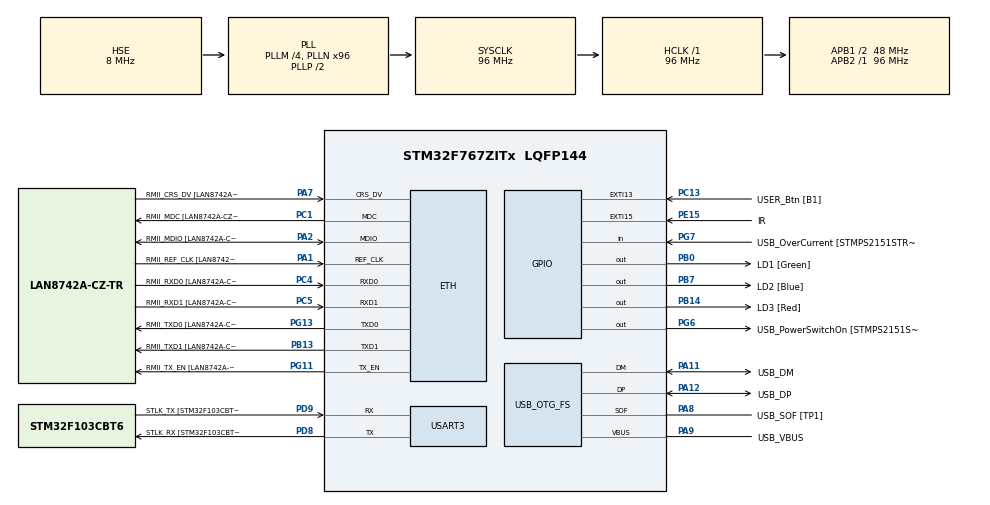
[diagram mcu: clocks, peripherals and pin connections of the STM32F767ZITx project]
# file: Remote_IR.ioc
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ETH.MediaInterface=HAL_ETH_RMII_MODE
ETH.PHY_Name=LAN8742A_PHY_ADDRESS
ETH.PHY_Value=0
ETH.PhyAddress=0
Mcu.Family=STM32F7
Mcu.Name=STM32F767ZITx
Mcu.Package=LQFP144
NVIC.EXTI15_10_IRQn=true\:0\:0\:false\:false\:true\:true\:true\:true
NVIC.PriorityGroup=NVIC_PRIORITYGROUP_4
PA1.GPIO_Label=RMII_REF_CLK [LAN8742A-CZ-TR_REFCLK0]
PA1.Mode=RMII
PA1.Signal=ETH_REF_CLK
PA10.GPIO_Label=USB_ID
PA10.Signal=USB_OTG_FS_ID
PA11.GPIO_Label=USB_DM
PA11.Mode=Device_Only
PA11.Signal=USB_OTG_FS_DM
PA12.GPIO_Label=USB_DP
PA12.Mode=Device_Only
PA12.Signal=USB_OTG_FS_DP
PA13.GPIO_Label=TMS
PA13.Mode=Serial_Wire
PA13.Signal=SYS_JTMS-SWDIO
PA14.GPIO_Label=TCK
PA14.Mode=Serial_Wire
PA14.Signal=SYS_JTCK-SWCLK
PA2.GPIO_Label=RMII_MDIO [LAN8742A-CZ-TR_MDIO]
PA2.Mode=RMII
PA2.Signal=ETH_MDIO
PA7.GPIO_Label=RMII_CRS_DV [LAN8742A-CZ-TR_CRS_DV]
PA7.Mode=RMII
PA7.Signal=ETH_CRS_DV
PA8.GPIO_Label=USB_SOF [TP1]
PA8.Mode=Activate_SOF_FS
PA8.Signal=USB_OTG_FS_SOF
PA9.GPIO_Label=USB_VBUS
PA9.Mode=Activate_VBUS
PA9.Signal=USB_OTG_FS_VBUS
PB0.GPIO_Label=LD1 [Green]
PB0.Signal=GPIO_Output
PB13.GPIO_Label=RMII_TXD1 [LAN8742A-CZ-TR_TXD1]
PB13.Mode=RMII
PB13.Signal=ETH_TXD1
PB14.GPIO_Label=LD3 [Red]
PB14.Signal=GPIO_Output
PB3.GPIO_Label=SWO
PB3.Signal=SYS_JTDO-SWO
PB7.GPIO_Label=LD2 [Blue]
PB7.Signal=GPIO_Output
PC1.GPIO_Label=RMII_MDC [LAN8742A-CZ-TR_MDC]
PC1.Mode=RMII
PC1.Signal=ETH_MDC
PC13.GPIO_Label=USER_Btn [B1]
PC13.Signal=GPXTI13
PC14/OSC32_IN.Mode=LSE-External-Oscillator
PC14/OSC32_IN.Signal=RCC_OSC32_IN
PC15/OSC32_OUT.Mode=LSE-External-Oscillator
PC15/OSC32_OUT.Signal=RCC_OSC32_OUT
PC4.GPIO_Label=RMII_RXD0 [LAN8742A-CZ-TR_RXD0]
PC4.Mode=RMII
PC4.Signal=ETH_RXD0
PC5.GPIO_Label=RMII_RXD1 [LAN8742A-CZ-TR_RXD1]
PC5.Mode=RMII
PC5.Signal=ETH_RXD1
PD8.GPIO_Label=STLK_RX [STM32F103CBT6_PA3]
PD8.Mode=Asynchronous
PD8.Signal=USART3_TX
PD9.GPIO_Label=STLK_TX [STM32F103CBT6_PA2]
PD9.Mode=Asynchronous
PD9.Signal=USART3_RX
PE15.GPIO_Label=IR
PE15.GPIO_ModeDefaultEXTI=GPIO_MODE_IT_RISING_FALLING
PE15.Signal=GPXTI15
PG11.GPIO_Label=RMII_TX_EN [LAN8742A-CZ-TR_TXEN]
PG11.Mode=RMII
PG11.Signal=ETH_TX_EN
PG13.GPIO_Label=RMII_TXD0 [LAN8742A-CZ-TR_TXD0]
PG13.Mode=RMII
PG13.Signal=ETH_TXD0
PG6.GPIO_Label=USB_PowerSwitchOn [STMPS2151STR_EN]
PG6.Signal=GPIO_Output
PG7.GPIO_Label=USB_OverCurrent [STMPS2151STR_FAULT]
PG7.Signal=GPIO_Input
PH0/OSC_IN.GPIO_Label=MCO [STM32F103CBT6_PA8]
PH0/OSC_IN.Mode=HSE-External-Clock-Source
PH0/OSC_IN.Signal=RCC_OSC_IN
PH1/OSC_OUT.Mode=HSE-External-Clock-Source
PH1/OSC_OUT.Signal=RCC_OSC_OUT
ProjectManager.HeapSize=0x200
ProjectManager.StackSize=0x400
ProjectManager.TargetToolchain=MDK-ARM V5.32
RCC.48MHZClocksFreq_Value=24000000
RCC.AHBFreq_Value=96000000
RCC.APB1CLKDivider=RCC_HCLK_DIV2
RCC.APB1Freq_Value=48000000
RCC.APB1TimFreq_Value=96000000
RCC.APB2Freq_Value=96000000
RCC.APB2TimFreq_Value=96000000
RCC.CortexFreq_Value=96000000
RCC.HCLKFreq_Value=96000000
RCC.HSE_VALUE=8000000
RCC.HSI_VALUE=16000000
RCC.PLLM=4
RCC.PLLMUL=RCC_PLL_MUL9
RCC.PLLN=96
RCC.PLLQ=4
RCC.PRESCALERUSB=RCC_USBCLKSOURCE_PLL_DIV1_5
RCC.SYSCLKFreq_VALUE=96000000
RCC.SYSCLKSource=RCC_SYSCLKSOURCE_PLLCLK
RCC.SYSCLKSourceVirtual=RCC_SYSCLKSOURCE_PLLCLK
RCC.USBFreq_Value=48000000
RCC.VCOOutputFreq_Value=192000000
USART3.VirtualMode-Asynchronous=VM_ASYNC
USB_OTG_FS.VirtualMode=Device_Only
board=NUCLEO-F767ZI

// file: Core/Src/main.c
/* USER CODE BEGIN Header */
/**
  ******************************************************************************
  * @file           : main.c
  * @brief          : Main program body
  ******************************************************************************
  * @attention
  *
  * Copyright (c) 2022 STMicroelectronics.
  * All rights reserved.
  *
  * This software is licensed under terms that can be found in the LICENSE file
  * in the root directory of this software component.
  * If no LICENSE file comes with this software, it is provided AS-IS.
  *
  ******************************************************************************
  */
/* USER CODE END Header */
#include "main.h"
#include "string.h"

/* USER CODE BEGIN Includes */
#include "dwt_stm32_delay.h"
/* USER CODE END Includes */

#if defined ( __ICCARM__ ) /*!< IAR Compiler */
#pragma location=0x2007c000
ETH_DMADescTypeDef  DMARxDscrTab[ETH_RX_DESC_CNT]; /* Ethernet Rx DMA Descriptors */
#pragma location=0x2007c0a0
ETH_DMADescTypeDef  DMATxDscrTab[ETH_TX_DESC_CNT]; /* Ethernet Tx DMA Descriptors */

#elif defined ( __CC_ARM )  /* MDK ARM Compiler */

__attribute__((at(0x2007c000))) ETH_DMADescTypeDef  DMARxDscrTab[ETH_RX_DESC_CNT]; /* Ethernet Rx DMA Descriptors */
__attribute__((at(0x2007c0a0))) ETH_DMADescTypeDef  DMATxDscrTab[ETH_TX_DESC_CNT]; /* Ethernet Tx DMA Descriptors */

#elif defined ( __GNUC__ ) /* GNU Compiler */
ETH_DMADescTypeDef DMARxDscrTab[ETH_RX_DESC_CNT] __attribute__((section(".RxDecripSection"))); /* Ethernet Rx DMA Descriptors */
ETH_DMADescTypeDef DMATxDscrTab[ETH_TX_DESC_CNT] __attribute__((section(".TxDecripSection")));   /* Ethernet Tx DMA Descriptors */

#endif

ETH_TxPacketConfig TxConfig;

ETH_HandleTypeDef heth;

UART_HandleTypeDef huart3;

PCD_HandleTypeDef hpcd_USB_OTG_FS;

void SystemClock_Config(void);
static void MX_GPIO_Init(void);
static void MX_ETH_Init(void);
static void MX_USART3_UART_Init(void);
static void MX_USB_OTG_FS_PCD_Init(void);
/* USER CODE BEGIN PFP */
uint32_t code;
int i = 0;
/* USER CODE END PFP */

int main(void)
{

  /* MCU Configuration--------------------------------------------------------*/

  /* Reset of all peripherals, Initializes the Flash interface and the Systick. */
  HAL_Init();

  /* Configure the system clock */
  SystemClock_Config();

  /* Initialize all configured peripherals */
  MX_GPIO_Init();
  MX_ETH_Init();
  MX_USART3_UART_Init();
  MX_USB_OTG_FS_PCD_Init();
  /* USER CODE BEGIN 2 */
	DWT_Delay_Init ();
  /* USER CODE END 2 */

  /* Infinite loop */
  while (1)
  {

  }
}

void SystemClock_Config(void)
{
  RCC_OscInitTypeDef RCC_OscInitStruct = {0};
  RCC_ClkInitTypeDef RCC_ClkInitStruct = {0};

  /** Configure LSE Drive Capability
  */
  HAL_PWR_EnableBkUpAccess();

  /** Configure the main internal regulator output voltage
  */
  __HAL_RCC_PWR_CLK_ENABLE();
  __HAL_PWR_VOLTAGESCALING_CONFIG(PWR_REGULATOR_VOLTAGE_SCALE3);

  /** Initializes the RCC Oscillators according to the specified parameters
  * in the RCC_OscInitTypeDef structure.
  */
  RCC_OscInitStruct.OscillatorType = RCC_OSCILLATORTYPE_HSE;
  RCC_OscInitStruct.HSEState = RCC_HSE_BYPASS;
  RCC_OscInitStruct.PLL.PLLState = RCC_PLL_ON;
  RCC_OscInitStruct.PLL.PLLSource = RCC_PLLSOURCE_HSE;
  RCC_OscInitStruct.PLL.PLLM = 4;
  RCC_OscInitStruct.PLL.PLLN = 96;
  RCC_OscInitStruct.PLL.PLLP = RCC_PLLP_DIV2;
  RCC_OscInitStruct.PLL.PLLQ = 4;
  RCC_OscInitStruct.PLL.PLLR = 2;
  if (HAL_RCC_OscConfig(&RCC_OscInitStruct) != HAL_OK)
  {
    Error_Handler();
  }

  /** Activate the Over-Drive mode
  */
  if (HAL_PWREx_EnableOverDrive() != HAL_OK)
  {
    Error_Handler();
  }

  /** Initializes the CPU, AHB and APB buses clocks
  */
  RCC_ClkInitStruct.ClockType = RCC_CLOCKTYPE_HCLK|RCC_CLOCKTYPE_SYSCLK
                              |RCC_CLOCKTYPE_PCLK1|RCC_CLOCKTYPE_PCLK2;
  RCC_ClkInitStruct.SYSCLKSource = RCC_SYSCLKSOURCE_PLLCLK;
  RCC_ClkInitStruct.AHBCLKDivider = RCC_SYSCLK_DIV1;
  RCC_ClkInitStruct.APB1CLKDivider = RCC_HCLK_DIV2;
  RCC_ClkInitStruct.APB2CLKDivider = RCC_HCLK_DIV1;

  if (HAL_RCC_ClockConfig(&RCC_ClkInitStruct, FLASH_LATENCY_3) != HAL_OK)
  {
    Error_Handler();
  }
}

static void MX_ETH_Init(void)
{

   static uint8_t MACAddr[6];

  heth.Instance = ETH;
  MACAddr[0] = 0x00;
  MACAddr[1] = 0x80;
  MACAddr[2] = 0xE1;
  MACAddr[3] = 0x00;
  MACAddr[4] = 0x00;
  MACAddr[5] = 0x00;
  heth.Init.MACAddr = &MACAddr[0];
  heth.Init.MediaInterface = HAL_ETH_RMII_MODE;
  heth.Init.TxDesc = DMATxDscrTab;
  heth.Init.RxDesc = DMARxDscrTab;
  heth.Init.RxBuffLen = 1524;

  if (HAL_ETH_Init(&heth) != HAL_OK)
  {
    Error_Handler();
  }

  memset(&TxConfig, 0 , sizeof(ETH_TxPacketConfig));
  TxConfig.Attributes = ETH_TX_PACKETS_FEATURES_CSUM | ETH_TX_PACKETS_FEATURES_CRCPAD;
  TxConfig.ChecksumCtrl = ETH_CHECKSUM_IPHDR_PAYLOAD_INSERT_PHDR_CALC;
  TxConfig.CRCPadCtrl = ETH_CRC_PAD_INSERT;

}

static void MX_USART3_UART_Init(void)
{

  huart3.Instance = USART3;
  huart3.Init.BaudRate = 115200;
  huart3.Init.WordLength = UART_WORDLENGTH_8B;
  huart3.Init.StopBits = UART_STOPBITS_1;
  huart3.Init.Parity = UART_PARITY_NONE;
  huart3.Init.Mode = UART_MODE_TX_RX;
  huart3.Init.HwFlowCtl = UART_HWCONTROL_NONE;
  huart3.Init.OverSampling = UART_OVERSAMPLING_16;
  huart3.Init.OneBitSampling = UART_ONE_BIT_SAMPLE_DISABLE;
  huart3.AdvancedInit.AdvFeatureInit = UART_ADVFEATURE_NO_INIT;
  if (HAL_UART_Init(&huart3) != HAL_OK)
  {
    Error_Handler();
  }

}

static void MX_USB_OTG_FS_PCD_Init(void)
{

  hpcd_USB_OTG_FS.Instance = USB_OTG_FS;
  hpcd_USB_OTG_FS.Init.dev_endpoints = 6;
  hpcd_USB_OTG_FS.Init.speed = PCD_SPEED_FULL;
  hpcd_USB_OTG_FS.Init.dma_enable = DISABLE;
  hpcd_USB_OTG_FS.Init.phy_itface = PCD_PHY_EMBEDDED;
  hpcd_USB_OTG_FS.Init.Sof_enable = ENABLE;
  hpcd_USB_OTG_FS.Init.low_power_enable = DISABLE;
  hpcd_USB_OTG_FS.Init.lpm_enable = DISABLE;
  hpcd_USB_OTG_FS.Init.vbus_sensing_enable = ENABLE;
  hpcd_USB_OTG_FS.Init.use_dedicated_ep1 = DISABLE;
  if (HAL_PCD_Init(&hpcd_USB_OTG_FS) != HAL_OK)
  {
    Error_Handler();
  }

}

static void MX_GPIO_Init(void)
{
  GPIO_InitTypeDef GPIO_InitStruct = {0};

  /* GPIO Ports Clock Enable */
  __HAL_RCC_GPIOC_CLK_ENABLE();
  __HAL_RCC_GPIOH_CLK_ENABLE();
  __HAL_RCC_GPIOA_CLK_ENABLE();
  __HAL_RCC_GPIOB_CLK_ENABLE();
  __HAL_RCC_GPIOE_CLK_ENABLE();
  __HAL_RCC_GPIOD_CLK_ENABLE();
  __HAL_RCC_GPIOG_CLK_ENABLE();

  /*Configure GPIO pin Output Level */
  HAL_GPIO_WritePin(GPIOB, LD1_Pin|LD3_Pin|LD2_Pin, GPIO_PIN_RESET);

  /*Configure GPIO pin Output Level */
  HAL_GPIO_WritePin(USB_PowerSwitchOn_GPIO_Port, USB_PowerSwitchOn_Pin, GPIO_PIN_RESET);

  /*Configure GPIO pin : USER_Btn_Pin */
  GPIO_InitStruct.Pin = USER_Btn_Pin;
  GPIO_InitStruct.Mode = GPIO_MODE_IT_RISING;
  GPIO_InitStruct.Pull = GPIO_NOPULL;
  HAL_GPIO_Init(USER_Btn_GPIO_Port, &GPIO_InitStruct);

  /*Configure GPIO pins : LD1_Pin LD3_Pin LD2_Pin */
  GPIO_InitStruct.Pin = LD1_Pin|LD3_Pin|LD2_Pin;
  GPIO_InitStruct.Mode = GPIO_MODE_OUTPUT_PP;
  GPIO_InitStruct.Pull = GPIO_NOPULL;
  GPIO_InitStruct.Speed = GPIO_SPEED_FREQ_LOW;
  HAL_GPIO_Init(GPIOB, &GPIO_InitStruct);

  /*Configure GPIO pin : IR_Pin */
  GPIO_InitStruct.Pin = IR_Pin;
  GPIO_InitStruct.Mode = GPIO_MODE_IT_RISING_FALLING;
  GPIO_InitStruct.Pull = GPIO_NOPULL;
  HAL_GPIO_Init(IR_GPIO_Port, &GPIO_InitStruct);

  /*Configure GPIO pin : USB_PowerSwitchOn_Pin */
  GPIO_InitStruct.Pin = USB_PowerSwitchOn_Pin;
  GPIO_InitStruct.Mode = GPIO_MODE_OUTPUT_PP;
  GPIO_InitStruct.Pull = GPIO_NOPULL;
  GPIO_InitStruct.Speed = GPIO_SPEED_FREQ_LOW;
  HAL_GPIO_Init(USB_PowerSwitchOn_GPIO_Port, &GPIO_InitStruct);

  /*Configure GPIO pin : USB_OverCurrent_Pin */
  GPIO_InitStruct.Pin = USB_OverCurrent_Pin;
  GPIO_InitStruct.Mode = GPIO_MODE_INPUT;
  GPIO_InitStruct.Pull = GPIO_NOPULL;
  HAL_GPIO_Init(USB_OverCurrent_GPIO_Port, &GPIO_InitStruct);

  /* EXTI interrupt init*/
  HAL_NVIC_SetPriority(EXTI15_10_IRQn, 0, 0);
  HAL_NVIC_EnableIRQ(EXTI15_10_IRQn);

}

/* USER CODE BEGIN 4 */
void HAL_GPIO_EXTI_Callback(uint16_t GPIO_Pin){

	HAL_GPIO_WritePin(LD1_GPIO_Port, LD1_Pin, GPIO_PIN_SET);
		if ( i == 14)
		{
			i = 0;
		 HAL_GPIO_WritePin(LD1_GPIO_Port, LD1_Pin, GPIO_PIN_RESET);
			for (int i2=0; i2<16; i2++)
			{
				code &= ~(1UL << (15-i));
			}
		}

	if (HAL_GPIO_ReadPin(GPIOE, GPIO_PIN_15))
	{
		code |= (1UL << (15-i)); // write 1
		i++;

	}

	if (!HAL_GPIO_ReadPin(GPIOE, GPIO_PIN_15))
	{
		code &= ~(1UL << (15-i)); // write 0
		i++;
	}

	DWT_Delay_us(2000);
	//HAL_Delay(2);

}
/* USER CODE END 4 */

void Error_Handler(void)
{
  __disable_irq();
  while (1)
  {
  }
}
